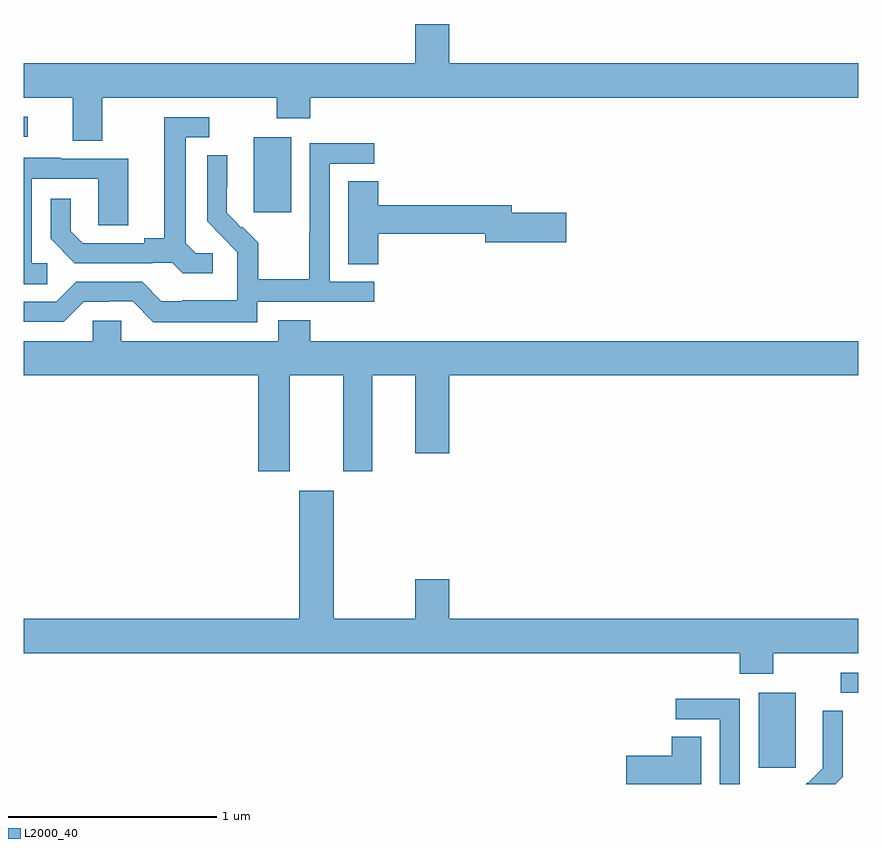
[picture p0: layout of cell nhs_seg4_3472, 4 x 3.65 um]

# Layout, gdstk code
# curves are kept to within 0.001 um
import gdstk
lib = gdstk.Library(unit=1e-6, precision=1e-09)
def R(c, l, rs):  # rectangles x0, y0, x1, y1
    for r in rs: c.add(gdstk.rectangle(r[:2], r[2:], *l))
def P(c, l, *ps):  # polygons
    for p in ps: c.add(gdstk.Polygon(p, *l))
L2000_40 = (2000, 40)

nhs_seg4_3472 = lib.new_cell('nhs_seg4_3472')
R(nhs_seg4_3472, L2000_40, [(298.523,754.977,298.702,755.338), (298.917,755.337,299,755.433), (296.102,757.641,296.281,758.002), (295,758.004,295.018,758.1)])
P(nhs_seg4_3472, L2000_40, [(295.375,758.192),(296.212,758.192),(296.212,758.093),(296.372,758.093),(296.372,758.192),(299,758.192),(299,758.356),(297.04,758.356),(297.04,758.545),(296.876,758.545),(296.876,758.356),(295,758.356),(295,758.192),(295.235,758.192),(295.235,757.984),(295.375,757.984)],
  [(295.906,757.446),(295.824,757.446),(295.777,757.493),(295.777,758.001),(295.888,758.001),(295.888,758.097),(295.673,758.097),(295.673,757.517),(295.577,757.517),(295.577,757.494),(295.282,757.494),(295.225,757.551),(295.225,757.708),(295.128,757.708),(295.128,757.514),(295.244,757.398),(295.616,757.398),(295.616,757.401),(295.71,757.401),(295.762,757.349),(295.906,757.349)],
  [(296.118,757.212),(296.68,757.212),(296.68,757.308),(296.466,757.308),(296.466,757.875),(296.68,757.875),(296.68,757.974),(296.37,757.974),(296.37,757.544),(296.368,757.544),(296.368,757.321),(296.123,757.321),(296.123,757.495),(296.046,757.572),(296.043,757.569),(295.973,757.64),(295.974,757.916),(295.878,757.916),(295.878,757.598),(296.024,757.45),(296.024,757.353),(296.022,757.353),(296.022,757.219),(295.759,757.219),(295.759,757.215),(295.659,757.215),(295.566,757.308),(295.251,757.308),(295.155,757.212),(295,757.212),(295,757.116),(295.191,757.116),(295.287,757.212),(295.406,757.212),(295.406,757.215),(295.521,757.215),(295.621,757.115),(296.118,757.115)],
  [(295.111,757.398),(295.038,757.398),(295.038,757.803),(295.356,757.803),(295.356,757.579),(295.501,757.579),(295.501,757.899),(295.177,757.899),(295.177,757.903),(295,757.903),(295,757.297),(295.111,757.297)],
  [(296.699,757.54),(297.212,757.54),(297.212,757.498),(297.601,757.498),(297.601,757.64),(297.34,757.64),(297.34,757.676),(296.699,757.676),(296.699,757.79),(296.555,757.79),(296.555,757.393),(296.699,757.393)],
  [(296.275,756.86),(296.531,756.86),(296.531,756.399),(296.671,756.399),(296.671,756.86),(296.876,756.86),(296.876,756.486),(297.04,756.486),(297.04,756.86),(299,756.86),(299,757.024),(296.372,757.024),(296.372,757.123),(296.219,757.123),(296.219,757.024),(295.467,757.024),(295.467,757.122),(295.329,757.122),(295.329,757.024),(295,757.024),(295,756.86),(296.123,756.86),(296.123,756.399),(296.275,756.399)],
  [(298.593,755.528),(299,755.528),(299,755.692),(297.04,755.692),(297.04,755.881),(296.876,755.881),(296.876,755.692),(296.485,755.692),(296.485,756.307),(296.321,756.307),(296.321,755.692),(295,755.692),(295,755.528),(298.433,755.528),(298.433,755.429),(298.593,755.429)],
  [(298.434,755.31),(298.125,755.31),(298.125,755.211),(298.338,755.211),(298.338,754.9),(298.434,754.9)],
  [(298.926,754.934),(298.926,755.252),(298.83,755.252),(298.83,755.098),(298.832,755.098),(298.832,754.976),(298.761,754.905),(298.758,754.908),(298.75,754.9),(298.892,754.9)],
  [(298.249,755.126),(298.106,755.126),(298.106,755.036),(297.888,755.036),(297.888,754.9),(298.249,754.9)])

lib.write_gds('nhs_seg4_3472.gds')
